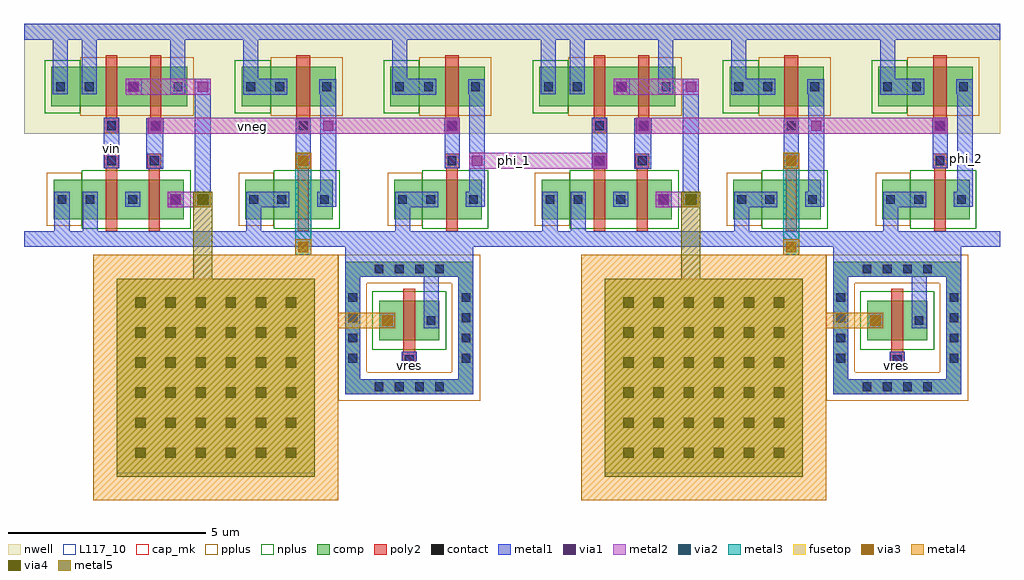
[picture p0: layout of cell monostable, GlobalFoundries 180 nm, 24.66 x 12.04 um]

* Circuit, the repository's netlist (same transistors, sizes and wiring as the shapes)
** sch_path: /foss/designs/Mosbious_2025_Spikcore/designs/libs/core_LIF_comp/core_monostable/monostable.sch
.subckt monostable vss vdd vin vres phi_1 phi_2 vneg
*.PININFO vin:I vdd:B vss:B phi_1:O vres:I phi_2:O vneg:O
x2 vdd net2 vneg vss not
XM2 net2 vres vss vss nfet_03v3 L=0.3u W=1u nf=1 m=1
x13 vdd vss net1 vneg vin nand
x14 vdd vneg phi_1 vss not
XC2 net1 net2 cap_mim_2f0fF c_width=5e-6 c_length=5e-6 m=1
x1 vdd net5 net3 vss not
XM1 net5 vres vss vss nfet_03v3 L=0.3u W=1u nf=1 m=1
x3 vdd vss net4 net3 phi_1 nand
x4 vdd net3 phi_2 vss not
XC1 net4 net5 cap_mim_2f0fF c_width=5e-6 c_length=5e-6 m=1
.ends

* expanding   symbol:  designs/libs/core_LIF_comp/core_not/not.sym # of pins=4
** sym_path: /foss/designs/Mosbious_2025_Spikcore/designs/libs/core_LIF_comp/core_not/not.sym
** sch_path: /foss/designs/Mosbious_2025_Spikcore/designs/libs/core_LIF_comp/core_not/not.sch
.subckt not vdd in out vss
*.PININFO vdd:B vss:B in:B out:B
XM1 out in vdd vdd pfet_03v3 L=0.35u W=1u nf=1 m=1
XM3 out in vss vss nfet_03v3 L=0.28u W=1u nf=1 m=1
.ends


* expanding   symbol:  designs/libs/core_LIF_comp/core_nand/nand.sym # of pins=5
** sym_path: /foss/designs/Mosbious_2025_Spikcore/designs/libs/core_LIF_comp/core_nand/nand.sym
** sch_path: /foss/designs/Mosbious_2025_Spikcore/designs/libs/core_LIF_comp/core_nand/nand.sch
.subckt nand vdd vss Z A B
*.PININFO vdd:B vss:B A:I Z:O B:I
XM1 Z A vdd vdd pfet_03v3 L=0.28u W=1u nf=1 m=1
XM3 net1 B vss vss nfet_03v3 L=0.28u W=1u nf=1 m=1
XM2 Z A net1 vss nfet_03v3 L=0.28u W=1u nf=1 m=1
XM4 Z B vdd vdd pfet_03v3 L=0.28u W=1u nf=1 m=1
.ends

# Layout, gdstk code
from math import pi, radians
import gdstk
lib = gdstk.Library(unit=1e-6, precision=5e-09)
def R(c, l, rs):  # rectangles x0, y0, x1, y1
    for r in rs: c.add(gdstk.rectangle(r[:2], r[2:], *l))
def A(c, l, x, y, w, h, nx, ny, dx, dy):  # array of equal rectangles
    R(c, l, [(x+i*dx, y+j*dy, x+i*dx+w, y+j*dy+h) for i in range(nx) for j in range(ny)])
def P(c, l, *ps):  # polygons
    for p in ps: c.add(gdstk.Polygon(p, *l))
nwell = (21, 0)
comp = (22, 0)
poly2 = (30, 0)
pplus = (31, 0)
nplus = (32, 0)
contact = (33, 0)
metal1 = (34, 0)
via1 = (35, 0)
metal2 = (36, 0)
via2 = (38, 0)
via3 = (40, 0)
via4 = (41, 0)
metal3 = (42, 0)
metal4 = (46, 0)
fusetop = (75, 0)
metal5 = (81, 0)
cap_mk = (117, 5)
L117_10 = (117, 10)

pfet_1 = lib.new_cell('pfet$1')

pfet_2 = lib.new_cell('pfet$2')
R(pfet_2, nwell, [(-0.9,-0.44,1.56,1.44)])
R(pfet_2, comp, [(-0.46,0,0,1), (0,0,0.66,1), (0.66,0,1.12,1)])
R(pfet_2, poly2, [(0.14,-0.68,0.52,-0.3), (0.19,-0.3,0.47,1.3)])
R(pfet_2, pplus, [(-0.63,-0.24,1.29,1.24)])
R(pfet_2, contact, [(0.22,-0.6,0.44,-0.38), (-0.34,0.39,-0.12,0.61), (0.78,0.39,1,0.61)])
R(pfet_2, metal1, [(0.14,-0.68,0.52,-0.3), (-0.42,0.31,-0.04,0.69), (0.7,0.31,1.08,0.69)])

via_dev_1 = lib.new_cell('via_dev$1')

pfet_3 = lib.new_cell('pfet$3')
R(pfet_3, nwell, [(-1.15,-0.69,2.54,1.69)])
R(pfet_3, comp, [(-0.46,0,0,1), (0,0,0.66,1), (0.66,0,1.12,1), (1.12,0,1.85,1)])
R(pfet_3, poly2, [(0.14,-0.68,0.52,-0.3), (0.19,-0.3,0.47,1.3)])
R(pfet_3, pplus, [(-0.63,-0.24,1.12,1.24)])
R(pfet_3, nplus, [(1.12,-0.17,2.02,1.17)])
R(pfet_3, contact, [(0.22,-0.6,0.44,-0.38), (-0.34,0.39,-0.12,0.61), (0.78,0.39,1,0.61), (1.51,0.39,1.73,0.61)])
R(pfet_3, metal1, [(0.14,-0.68,0.52,-0.3), (-0.42,0.31,-0.04,0.69), (0.7,0.31,1.08,0.69), (1.43,0.31,1.81,0.69)])

via_dev_2 = lib.new_cell('via_dev$2')
R(via_dev_2, metal1, [(0,0,0.4,0.4)])
R(via_dev_2, via1, [(0.07,0.07,0.33,0.33)])
R(via_dev_2, metal2, [(0,0,0.4,0.4)])

nfet_1 = lib.new_cell('nfet$1')
R(nfet_1, comp, [(-0.42,0,0,1), (0,0,0.66,1), (0.66,0,1.08,1), (1.08,0,1.79,1)])
R(nfet_1, poly2, [(0.19,-0.3,0.47,1.3), (0.15,1.3,0.51,1.66)])
R(nfet_1, pplus, [(1.08,-0.17,1.96,1.17)])
R(nfet_1, nplus, [(-0.59,-0.24,1.08,1.24)])
R(nfet_1, contact, [(-0.32,0.39,-0.1,0.61), (0.76,0.39,0.98,0.61), (1.47,0.39,1.69,0.61), (0.22,1.37,0.44,1.59)])
R(nfet_1, metal1, [(-0.4,0.31,-0.02,0.69), (0.68,0.31,1.06,0.69), (1.39,0.31,1.77,0.69), (0.14,1.29,0.52,1.67)])

nfet_2 = lib.new_cell('nfet$2')
R(nfet_2, comp, [(-0.42,0,0,1), (0,0,0.66,1), (0.66,0,1.08,1)])
R(nfet_2, poly2, [(0.19,-0.3,0.47,1.3), (0.15,1.3,0.51,1.66)])
R(nfet_2, nplus, [(-0.59,-0.24,1.25,1.24)])
R(nfet_2, contact, [(-0.32,0.39,-0.1,0.61), (0.76,0.39,0.98,0.61), (0.22,1.37,0.44,1.59)])
R(nfet_2, metal1, [(-0.4,0.31,-0.02,0.69), (0.68,0.31,1.06,0.69), (0.14,1.29,0.52,1.67)])

nand = lib.new_cell('nand')
R(nand, nwell, [(-1.325,-1.48,3.485,1.3)])
R(nand, metal1, [(-1.325,-4.34,3.485,-3.94), (1.625,-3.94,2.005,-2.95), (2.335,-3.94,2.715,-2.95), (-1.235,-3.12,-0.835,-0.26), (-0.035,-2.36,0.395,-1.09), (1.075,-2.35,1.475,-1.08), (1.645,-0.475,2.025,0.9), (2.375,-0.475,2.755,0.9), (-0.595,-0.445,-0.215,0.9), (-1.325,0.9,3.485,1.3)])
R(nand, metal2, [(-1.045,-3.34,-0.325,-2.94), (-0.98,-0.49,0.61,-0.09)])
nand.add(gdstk.Reference(pfet_1, (5.155,-2.67)))
nand.add(gdstk.Reference(pfet_2, (-0.175,-0.79)))
nand.add(gdstk.Reference(via_dev_1, (-0.94,-1.74)))
nand.add(gdstk.Reference(pfet_3, (0.945,-0.79)))
nand.add(gdstk.Reference(via_dev_2, (0.515,-0.49)))
nand.add(gdstk.Reference(via_dev_2, (-0.545,-3.34)))
nand.add(gdstk.Reference(nfet_1, (0.945,-3.64)))
nand.add(gdstk.Reference(via_dev_2, (-1.235,-3.34)))
nand.add(gdstk.Reference(nfet_2, (-0.135,-3.64)))
nand.add(gdstk.Reference(via_dev_2, (-1.235,-0.49)))
nand.add(gdstk.Label('A', (0.19,-1.725), layer=34, texttype=0))
nand.add(gdstk.Label('B', (1.29,-1.71), layer=34, texttype=0))
nand.add(gdstk.Label('Z', (-1.04,-1.815), layer=34, texttype=10))
nand.add(gdstk.Label('vss', (1.02,-4.185), layer=34, texttype=10))
nand.add(gdstk.Label('vdd', (0.94,1.07), layer=34, texttype=10))

pfet = lib.new_cell('pfet')
R(pfet, nwell, [(-1.15,-0.69,2.61,1.69)])
R(pfet, comp, [(-0.46,0,0,1), (0,0,0.73,1), (0.73,0,1.19,1), (1.19,0,1.92,1)])
R(pfet, poly2, [(0.175,-0.68,0.555,-0.3), (0.19,-0.3,0.54,1.3)])
R(pfet, pplus, [(-0.63,-0.24,1.19,1.24)])
R(pfet, nplus, [(1.19,-0.17,2.09,1.17)])
R(pfet, contact, [(0.255,-0.6,0.475,-0.38), (-0.34,0.39,-0.12,0.61), (0.85,0.39,1.07,0.61), (1.58,0.39,1.8,0.61)])
R(pfet, metal1, [(0.175,-0.68,0.555,-0.3), (-0.42,0.31,-0.04,0.69), (0.77,0.31,1.15,0.69), (1.5,0.31,1.88,0.69)])

nfet = lib.new_cell('nfet')
R(nfet, comp, [(-0.42,0,0,1), (0,0,0.66,1), (0.66,0,1.08,1), (1.08,0,1.79,1)])
R(nfet, poly2, [(0.19,-0.3,0.47,1.3), (0.15,1.3,0.51,1.66)])
R(nfet, pplus, [(1.08,-0.17,1.96,1.17)])
R(nfet, nplus, [(-0.59,-0.24,1.08,1.24)])
R(nfet, contact, [(-0.32,0.39,-0.1,0.61), (0.76,0.39,0.98,0.61), (1.47,0.39,1.69,0.61), (0.22,1.37,0.44,1.59)])
R(nfet, metal1, [(-0.4,0.31,-0.02,0.69), (0.68,0.31,1.06,0.69), (1.39,0.31,1.77,0.69), (0.14,1.29,0.52,1.67)])

via_dev = lib.new_cell('via_dev')

not_ = lib.new_cell('not')
R(not_, nwell, [(-1.325,0.9,2.435,1.3)])
R(not_, metal1, [(-0.64,-3.33,-0.24,-0.1), (0,-1.97,0.38,-1.47)])
P(not_, metal1, [(0.595,-0.49),(0.595,-0.09),(1.325,-0.09),(1.325,0.9),(-1.325,0.9),(-1.325,1.3),(2.435,1.3),(2.435,0.9),(1.705,0.9),(1.705,-0.49)],
  [(-1.325,-4.34),(-1.325,-3.94),(1.25,-3.94),(1.25,-3.34),(0.54,-3.34),(0.54,-2.94),(1.63,-2.94),(1.63,-3.94),(2.435,-3.94),(2.435,-4.34)])
not_.add(gdstk.Reference(pfet, (-0.175,-0.79)))
not_.add(gdstk.Reference(nfet, (-0.14,-3.64)))
not_.add(gdstk.Reference(via_dev, (-0.94,-1.74)))
not_.add(gdstk.Label('out', (-0.445,-1.78), layer=34, texttype=10))
not_.add(gdstk.Label('in', (0.17,-1.75), layer=34, texttype=10))
not_.add(gdstk.Label('vss', (0.305,-4.175), layer=34, texttype=10))
not_.add(gdstk.Label('vdd', (0.18,1.1), layer=34, texttype=10))

via_dev_4 = lib.new_cell('via_dev$4')

via_dev_3 = lib.new_cell('via_dev$3')
R(via_dev_3, metal1, [(0,0,0.4,0.4)])
R(via_dev_3, via1, [(0.07,0.07,0.33,0.33)])
R(via_dev_3, metal2, [(0,0,0.4,0.4)])

via_dev_1_1 = lib.new_cell('via_dev$1$1')
R(via_dev_1_1, metal1, [(0,0,0.4,0.4)])
R(via_dev_1_1, via1, [(0.07,0.07,0.33,0.33)])
R(via_dev_1_1, metal2, [(0,0,0.4,0.4)])
R(via_dev_1_1, via2, [(0.07,0.07,0.33,0.33)])
R(via_dev_1_1, via3, [(0.07,0.07,0.33,0.33)])
R(via_dev_1_1, metal3, [(0,0,0.4,0.4)])
R(via_dev_1_1, metal4, [(0,0,0.4,0.4)])

cap_mim = lib.new_cell('cap_mim')
A(cap_mim, via4, 0.47, 0.47, 0.26, 0.26, 6, 6, 0.76, 0.76)
R(cap_mim, metal4, [(-0.6,-0.6,5.6,5.6)])
R(cap_mim, fusetop, [(0,0,5,5)])
R(cap_mim, metal5, [(0,0,5,5)])
R(cap_mim, cap_mk, [(-0.6,-0.6,5.6,5.6)])
R(cap_mim, L117_10, [(0,0,5,0.1)])

via_dev_8 = lib.new_cell('via_dev$8')
R(via_dev_8, metal1, [(0,0,0.4,0.4)])
R(via_dev_8, via1, [(0.07,0.07,0.33,0.33)])
R(via_dev_8, metal2, [(0,0,0.4,0.4)])
R(via_dev_8, via2, [(0.07,0.07,0.33,0.33)])
R(via_dev_8, via3, [(0.07,0.07,0.33,0.33)])
R(via_dev_8, via4, [(0.07,0.07,0.33,0.33)])
R(via_dev_8, metal3, [(0,0,0.4,0.4)])
R(via_dev_8, metal4, [(0,0,0.4,0.4)])
R(via_dev_8, metal5, [(0,0,0.4,0.4)])

via_dev_9 = lib.new_cell('via_dev$9')
R(via_dev_9, via3, [(0.07,0.07,0.33,0.33)])
R(via_dev_9, metal3, [(0,0,0.4,0.4)])
R(via_dev_9, metal4, [(0,0,0.4,0.4)])

via_dev_10 = lib.new_cell('via_dev$10')

via_dev_11 = lib.new_cell('via_dev$11')

via_dev_12 = lib.new_cell('via_dev$12')
R(via_dev_12, metal1, [(0,0,0.4,0.4)])
R(via_dev_12, via1, [(0.07,0.07,0.33,0.33)])
R(via_dev_12, metal2, [(0,0,0.4,0.4)])

nfet_5 = lib.new_cell('nfet$5')
R(nfet_5, comp, [(-0.42,0,0,1), (0,0,0.68,1), (0.68,0,1.1,1)])
P(nfet_5, comp, [(-1.28,-1.36),(-1.28,1.61),(-0.9,1.61),(-0.9,-0.98),(1.58,-0.98),(1.58,1.61),(-1.28,1.61),(-1.28,1.99),(1.96,1.99),(1.96,-1.36)])
R(nfet_5, poly2, [(0.16,-0.66,0.52,-0.3), (0.19,-0.3,0.49,1.3)])
P(nfet_5, pplus, [(-1.45,-1.53),(-1.45,1.44),(-0.73,1.44),(-0.73,-0.81),(1.41,-0.81),(1.41,1.44),(-1.45,1.44),(-1.45,2.16),(2.13,2.16),(2.13,-1.53)])
R(nfet_5, nplus, [(-0.59,-0.24,1.27,1.24)])
A(nfet_5, contact, -0.535, -1.28, 0.22, 0.22, 4, 2, 0.51, 2.97)
A(nfet_5, contact, -1.2, -0.56, 0.22, 0.22, 1, 4, 0, 0.51)
A(nfet_5, contact, 1.66, -0.56, 0.22, 0.22, 1, 4, 0, 0.51)
R(nfet_5, contact, [(0.23,-0.59,0.45,-0.37), (-0.32,0.39,-0.1,0.61), (0.78,0.39,1,0.61)])
R(nfet_5, metal1, [(0.15,-0.67,0.53,-0.29), (-0.4,0.31,-0.02,0.69), (0.7,0.31,1.08,0.69)])

monostable = lib.new_cell('monostable')
R(monostable, metal1, [(14.085,9.12,14.465,10.225), (26.415,9.12,26.795,10.225), (12.105,10.55,15.345,10.94), (24.435,10.55,27.675,10.94)])
P(monostable, metal1, [(12.105,7.2),(12.105,10.17),(12.485,10.17),(12.485,7.58),(14.965,7.58),(14.965,10.17),(12.105,10.17),(12.105,10.55),(15.345,10.55),(15.345,7.2)],
  [(12.105,7.2),(12.105,10.17),(12.485,10.17),(12.485,7.58),(14.965,7.58),(14.965,10.17),(12.105,10.17),(12.105,10.55),(15.345,10.55),(15.345,7.2)],
  [(24.435,7.2),(24.435,10.17),(24.815,10.17),(24.815,7.58),(27.295,7.58),(27.295,10.17),(24.435,10.17),(24.435,10.55),(27.675,10.55),(27.675,7.2)],
  [(24.435,7.2),(24.435,10.17),(24.815,10.17),(24.815,7.58),(27.295,7.58),(27.295,10.17),(24.435,10.17),(24.435,10.55),(27.675,10.55),(27.675,7.2)])
R(monostable, metal2, [(15.375,12.9,18.515,13.3), (7.275,13.78,14.795,14.18), (19.605,13.78,27.125,14.18)])
R(monostable, metal3, [(10.845,10.92,11.245,13.15), (23.175,10.92,23.575,13.15)])
R(monostable, metal4, [(11.93,8.86,12.975,9.26), (24.26,8.86,25.305,9.26)])
R(monostable, metal5, [(8.27,10.12,8.75,12.32), (20.6,10.12,21.08,12.32)])
monostable.add(gdstk.Reference(nand, (7.475,15.26), rotation=pi, x_reflection=True))
monostable.add(gdstk.Reference(not_, (11.235,15.26), rotation=pi, x_reflection=True))
monostable.add(gdstk.Reference(not_, (14.995,15.26), rotation=pi, x_reflection=True))
monostable.add(gdstk.Reference(via_dev_4, (3.475,12.695)))
monostable.add(gdstk.Reference(via_dev_3, (7.12,13.78)))
monostable.add(gdstk.Reference(via_dev_3, (14.605,13.78)))
monostable.add(gdstk.Reference(via_dev_1_1, (10.845,12.9)))
monostable.add(gdstk.Reference(via_dev_4, (10.605,9.385)))
monostable.add(gdstk.Reference(cap_mim, (6.335,5.12)))
monostable.add(gdstk.Reference(via_dev_8, (8.31,11.92)))
monostable.add(gdstk.Reference(via_dev_9, (10.845,10.72)))
monostable.add(gdstk.Reference(via_dev_10, (15.805,12.695)))
monostable.add(gdstk.Reference(nand, (19.805,15.26), rotation=pi, x_reflection=True))
monostable.add(gdstk.Reference(not_, (23.565,15.26), rotation=pi, x_reflection=True))
monostable.add(gdstk.Reference(not_, (27.325,15.26), rotation=pi, x_reflection=True))
monostable.add(gdstk.Reference(via_dev_11, (15.805,12.695)))
monostable.add(gdstk.Reference(via_dev_12, (19.45,13.78)))
monostable.add(gdstk.Reference(via_dev_1_1, (23.175,12.9)))
monostable.add(gdstk.Reference(via_dev_11, (22.935,9.385)))
monostable.add(gdstk.Reference(cap_mim, (18.665,5.12)))
monostable.add(gdstk.Reference(via_dev_8, (20.64,11.92)))
monostable.add(gdstk.Reference(via_dev_9, (23.175,10.72)))
monostable.add(gdstk.Reference(via_dev_11, (28.135,12.695)))
monostable.add(gdstk.Reference(via_dev_12, (15.235,12.9)))
monostable.add(gdstk.Reference(via_dev_12, (18.33,12.9)))
monostable.add(gdstk.Reference(via_dev_1_1, (12.975,8.86)))
monostable.add(gdstk.Reference(nfet_5, (13.385,8.56)))
monostable.add(gdstk.Reference(via_dev_1_1, (25.305,8.86)))
monostable.add(gdstk.Reference(nfet_5, (25.715,8.56)))
monostable.add(gdstk.Reference(via_dev_12, (11.475,13.78)))
monostable.add(gdstk.Reference(via_dev_12, (26.935,13.78)))
monostable.add(gdstk.Reference(via_dev_12, (23.805,13.78)))
monostable.add(gdstk.Label('vin', (6.2,13.4), layer=34, texttype=10))
monostable.add(gdstk.Label('phi_2', (27.815,13.15), layer=34, texttype=10))
monostable.add(gdstk.Label('vres', (13.72,7.92), layer=34, texttype=10))
monostable.add(gdstk.Label('vres', (26.045,7.93), layer=34, texttype=10))
monostable.add(gdstk.Label('vneg', (9.765,13.96), layer=36, texttype=10))
monostable.add(gdstk.Label('phi_1', (16.38,13.105), layer=36, texttype=10))

lib.write_gds('monostable.gds')
